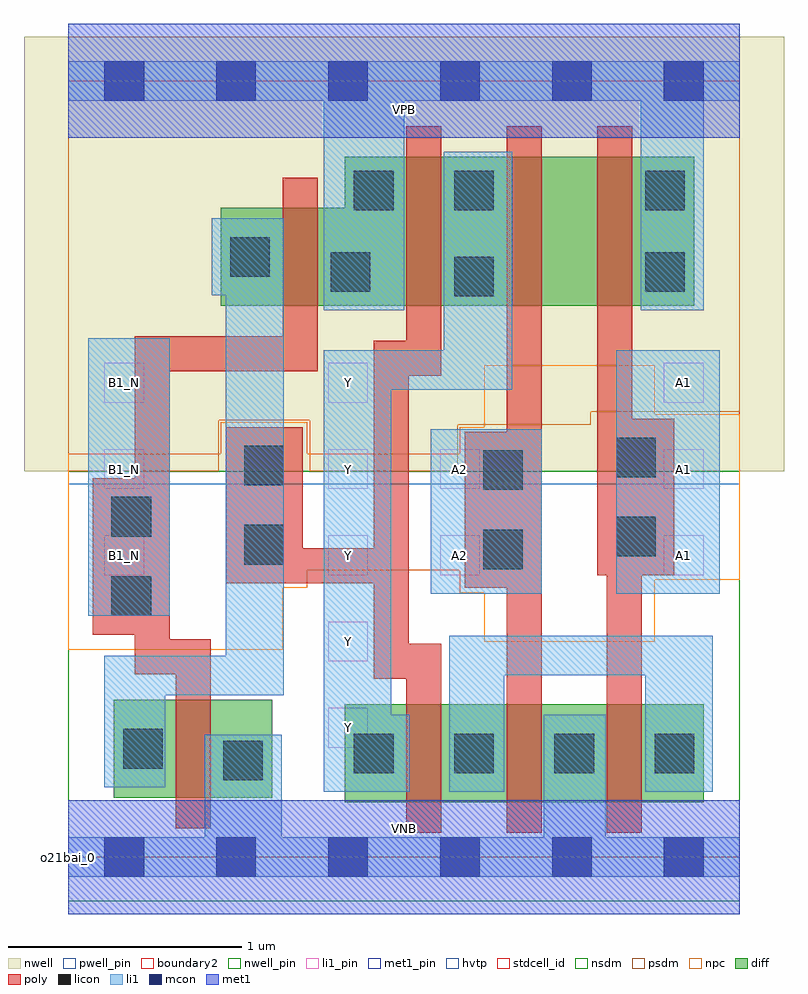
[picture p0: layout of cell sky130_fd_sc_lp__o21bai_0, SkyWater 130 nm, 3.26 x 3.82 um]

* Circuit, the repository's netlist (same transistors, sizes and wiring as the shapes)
* Copyright 2020 The SkyWater PDK Authors
*
* Licensed under the Apache License, Version 2.0 (the "License");
* you may not use this file except in compliance with the License.
* You may obtain a copy of the License at
*
*     https://www.apache.org/licenses/LICENSE-2.0
*
* Unless required by applicable law or agreed to in writing, software
* distributed under the License is distributed on an "AS IS" BASIS,
* WITHOUT WARRANTIES OR CONDITIONS OF ANY KIND, either express or implied.
* See the License for the specific language governing permissions and
* limitations under the License.
*
* SPDX-License-Identifier: Apache-2.0

.SUBCKT sky130_fd_sc_lp__o21bai_0 A1 A2 B1_N VGND VNB VPB VPWR Y
*.PININFO A1:I A2:I B1_N:I VGND:I VNB:I VPB:I VPWR:I Y:O
MMPA0 VPWR A1 sndA1 VPB sky130_fd_pr__pfet_01v8_hvt m=1 w=0.64U l=0.15U mult=1
+ sa=0.265 sb=0.265 sd=0.28 area=0.063 perim=1.14
MMPA1 sndA1 A2 Y VPB sky130_fd_pr__pfet_01v8_hvt m=1 w=0.64U l=0.15U mult=1 sa=0.265
+ sb=0.265 sd=0.28 area=0.063 perim=1.14
MMPB0 VPWR B1 Y VPB sky130_fd_pr__pfet_01v8_hvt m=1 w=0.64U l=0.15U mult=1 sa=0.265
+ sb=0.265 sd=0.28 area=0.063 perim=1.14
MMIPB1N B1 B1_N VPWR VPB sky130_fd_pr__pfet_01v8_hvt m=1 w=0.42U l=0.15U mult=1
+ sa=0.265 sb=0.265 sd=0.28 area=0.063 perim=1.14
MMNA0 pndA A1 VGND VNB sky130_fd_pr__nfet_01v8 m=1 w=0.42U l=0.15U mult=1 sa=0.265
+ sb=0.265 sd=0.28 area=0.063 perim=1.14
MMNA1 pndA A2 VGND VNB sky130_fd_pr__nfet_01v8 m=1 w=0.42U l=0.15U mult=1 sa=0.265
+ sb=0.265 sd=0.28 area=0.063 perim=1.14
MMNB0 Y B1 pndA VNB sky130_fd_pr__nfet_01v8 m=1 w=0.42U l=0.15U mult=1 sa=0.265
+ sb=0.265 sd=0.28 area=0.063 perim=1.14
MMINB1N B1 B1_N VGND VNB sky130_fd_pr__nfet_01v8 m=1 w=0.42U l=0.15U mult=1 sa=0.265
+ sb=0.265 sd=0.28 area=0.063 perim=1.14
.ENDS sky130_fd_sc_lp__o21bai_0

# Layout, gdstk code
import gdstk
lib = gdstk.Library(unit=1e-6, precision=1e-09)
def R(c, l, rs):  # rectangles x0, y0, x1, y1
    for r in rs: c.add(gdstk.rectangle(r[:2], r[2:], *l))
def A(c, l, x, y, w, h, nx, ny, dx, dy):  # array of equal rectangles
    R(c, l, [(x+i*dx, y+j*dy, x+i*dx+w, y+j*dy+h) for i in range(nx) for j in range(ny)])
def P(c, l, *ps):  # polygons
    for p in ps: c.add(gdstk.Polygon(p, *l))
nwell_pin = (64, 16)
nwell = (64, 20)
diff = (65, 20)
poly = (66, 20)
licon = (66, 44)
li1_pin = (67, 16)
li1 = (67, 20)
mcon = (67, 44)
met1_pin = (68, 16)
met1 = (68, 20)
hvtp = (78, 44)
stdcell_id = (81, 4)
nsdm = (93, 44)
psdm = (94, 20)
npc = (95, 20)
pwell_pin = (122, 16)
boundary2 = (236, 0)

sky130_fd_sc_lp__o21bai_ = lib.new_cell('sky130_fd_sc_lp__o21bai_0')
R(sky130_fd_sc_lp__o21bai_, nwell_pin, [(0,3.085,2.88,3.33)])
R(sky130_fd_sc_lp__o21bai_, nwell, [(-0.19,1.655,3.07,3.52)])
R(sky130_fd_sc_lp__o21bai_, diff, [(1.185,0.235,2.725,0.655), (0.195,0.255,0.875,0.675)])
P(sky130_fd_sc_lp__o21bai_, diff, [(2.685,3.005),(1.185,3.005),(1.185,2.785),(0.655,2.785),(0.655,2.365),(2.685,2.365)])
P(sky130_fd_sc_lp__o21bai_, poly, [(1.07,2.915),(0.92,2.915),(0.92,2.235),(0.285,2.235),(0.285,1.625),(0.105,1.625),(0.105,0.955),(0.285,0.955),(0.285,0.785),(0.46,0.785),(0.46,0.125),(0.61,0.125),(0.61,0.935),(0.435,0.935),(0.435,2.085),(1.07,2.085)],
  [(1.6,0.915),(1.46,0.915),(1.46,2.065),(1.6,2.065),(1.6,3.135),(1.45,3.135),(1.45,2.215),(1.31,2.215),(1.31,1.325),(1.005,1.325),(1.005,1.845),(0.675,1.845),(0.675,1.175),(1.31,1.175),(1.31,0.765),(1.45,0.765),(1.45,0.105),(1.6,0.105)],
  [(2.03,3.135),(1.88,3.135),(1.88,1.825),(1.7,1.825),(1.7,1.155),(1.88,1.155),(1.88,0.105),(2.03,0.105)],
  [(2.6,1.88),(2.42,1.88),(2.42,3.135),(2.27,3.135),(2.27,1.21),(2.31,1.21),(2.31,0.105),(2.46,0.105),(2.46,1.21),(2.6,1.21)])
A(sky130_fd_sc_lp__o21bai_, licon, 1.225, 0.36, 0.17, 0.17, 4, 1, 0.43, 0)
R(sky130_fd_sc_lp__o21bai_, licon, [(0.665,0.33,0.835,0.5), (0.235,0.38,0.405,0.55), (0.185,1.035,0.355,1.205), (1.78,1.235,1.95,1.405), (0.755,1.255,0.925,1.425), (2.35,1.29,2.52,1.46), (0.185,1.375,0.355,1.545), (1.78,1.575,1.95,1.745), (0.755,1.595,0.925,1.765), (2.35,1.63,2.52,1.8), (1.655,2.405,1.825,2.575), (1.125,2.425,1.295,2.595), (2.475,2.425,2.645,2.595), (0.695,2.49,0.865,2.66), (1.225,2.775,1.395,2.945), (1.655,2.775,1.825,2.945), (2.475,2.775,2.645,2.945)])
A(sky130_fd_sc_lp__o21bai_, li1_pin, 1.115, 0.47, 0.17, 0.17, 1, 5, 0, 0.37)
A(sky130_fd_sc_lp__o21bai_, li1_pin, 0.155, 1.21, 0.17, 0.17, 1, 3, 0, 0.37)
A(sky130_fd_sc_lp__o21bai_, li1_pin, 2.555, 1.21, 0.17, 0.17, 1, 3, 0, 0.37)
R(sky130_fd_sc_lp__o21bai_, li1_pin, [(1.595,1.21,1.765,1.38), (1.595,1.58,1.765,1.75)])
R(sky130_fd_sc_lp__o21bai_, li1, [(0.085,1.035,0.435,2.225), (1.555,1.13,2.03,1.835), (2.35,1.13,2.795,2.175)])
P(sky130_fd_sc_lp__o21bai_, li1, [(2.455,2.345),(2.455,3.245),(1.44,3.245),(1.44,2.345),(1.095,2.345),(1.095,3.245),(0,3.245),(0,3.415),(2.88,3.415),(2.88,3.245),(2.725,3.245),(2.725,2.345)],
  [(0.585,0.085),(0.585,0.525),(0.915,0.525),(0.915,0.085),(2.04,0.085),(2.04,0.61),(2.305,0.61),(2.305,0.085),(2.88,0.085),(2.88,-0.085),(0,-0.085),(0,0.085)],
  [(2.475,0.28),(2.475,0.78),(1.87,0.78),(1.87,0.28),(1.635,0.28),(1.635,0.95),(2.765,0.95),(2.765,0.28)],
  [(1.905,3.025),(1.61,3.025),(1.61,2.175),(1.095,2.175),(1.095,0.28),(1.465,0.28),(1.465,0.61),(1.385,0.61),(1.385,2.005),(1.905,2.005)],
  [(0.925,2.74),(0.615,2.74),(0.615,2.41),(0.675,2.41),(0.675,0.865),(0.155,0.865),(0.155,0.3),(0.415,0.3),(0.415,0.695),(0.925,0.695)])
A(sky130_fd_sc_lp__o21bai_, mcon, 0.155, -0.085, 0.17, 0.17, 6, 2, 0.48, 3.33)
R(sky130_fd_sc_lp__o21bai_, met1_pin, [(0,0,2.88,0.245), (0,3.085,2.88,3.33)])
R(sky130_fd_sc_lp__o21bai_, met1, [(0,-0.245,2.88,0.245), (0,3.085,2.88,3.575)])
R(sky130_fd_sc_lp__o21bai_, hvtp, [(0,1.6,2.88,3.33)])
R(sky130_fd_sc_lp__o21bai_, stdcell_id, [(0,0,2.88,3.33)])
R(sky130_fd_sc_lp__o21bai_, nsdm, [(0,-0.19,2.88,1.655)])
P(sky130_fd_sc_lp__o21bai_, psdm, [(2.88,3.52),(0,3.52),(0,1.655),(0.645,1.655),(0.645,1.875),(1.035,1.875),(1.035,1.655),(1.67,1.655),(1.67,1.855),(2.24,1.855),(2.24,1.91),(2.88,1.91)])
P(sky130_fd_sc_lp__o21bai_, npc, [(2.88,1.9),(2.515,1.9),(2.515,2.11),(1.785,2.11),(1.785,1.845),(1.68,1.845),(1.68,1.73),(1.025,1.73),(1.025,1.865),(0.655,1.865),(0.655,1.73),(0,1.73),(0,0.89),(0.92,0.89),(0.92,1.155),(1.025,1.155),(1.025,1.23),(1.68,1.23),(1.68,1.135),(1.785,1.135),(1.785,0.925),(2.515,0.925),(2.515,1.19),(2.88,1.19)])
R(sky130_fd_sc_lp__o21bai_, pwell_pin, [(0,0,2.88,0.245)])
R(sky130_fd_sc_lp__o21bai_, boundary2, [(0,0,2.88,3.33)])
sky130_fd_sc_lp__o21bai_.add(gdstk.Label('VNB', (1.44,0.123), layer=64, texttype=59))
sky130_fd_sc_lp__o21bai_.add(gdstk.Label('VPB', (1.44,3.208), layer=64, texttype=5))
sky130_fd_sc_lp__o21bai_.add(gdstk.Label('o21bai_0', (0,0), layer=83, texttype=44))
sky130_fd_sc_lp__o21bai_.add(gdstk.Label('VPWR', (1.44,3.208), layer=68, texttype=5))
sky130_fd_sc_lp__o21bai_.add(gdstk.Label('VGND', (1.44,0.123), layer=68, texttype=5))
sky130_fd_sc_lp__o21bai_.add(gdstk.Label('A1', (2.64,1.295), layer=67, texttype=5))
sky130_fd_sc_lp__o21bai_.add(gdstk.Label('A1', (2.64,1.665), layer=67, texttype=5))
sky130_fd_sc_lp__o21bai_.add(gdstk.Label('A1', (2.64,2.035), layer=67, texttype=5))
sky130_fd_sc_lp__o21bai_.add(gdstk.Label('A2', (1.68,1.295), layer=67, texttype=5))
sky130_fd_sc_lp__o21bai_.add(gdstk.Label('A2', (1.68,1.665), layer=67, texttype=5))
sky130_fd_sc_lp__o21bai_.add(gdstk.Label('Y', (1.2,1.295), layer=67, texttype=5))
sky130_fd_sc_lp__o21bai_.add(gdstk.Label('Y', (1.2,1.665), layer=67, texttype=5))
sky130_fd_sc_lp__o21bai_.add(gdstk.Label('Y', (1.2,2.035), layer=67, texttype=5))
sky130_fd_sc_lp__o21bai_.add(gdstk.Label('B1_N', (0.24,1.295), layer=67, texttype=5))
sky130_fd_sc_lp__o21bai_.add(gdstk.Label('B1_N', (0.24,1.665), layer=67, texttype=5))
sky130_fd_sc_lp__o21bai_.add(gdstk.Label('B1_N', (0.24,2.035), layer=67, texttype=5))
sky130_fd_sc_lp__o21bai_.add(gdstk.Label('Y', (1.2,0.555), layer=67, texttype=5))
sky130_fd_sc_lp__o21bai_.add(gdstk.Label('Y', (1.2,0.925), layer=67, texttype=5))

lib.write_gds('sky130_fd_sc_lp__o21bai_0.gds')
